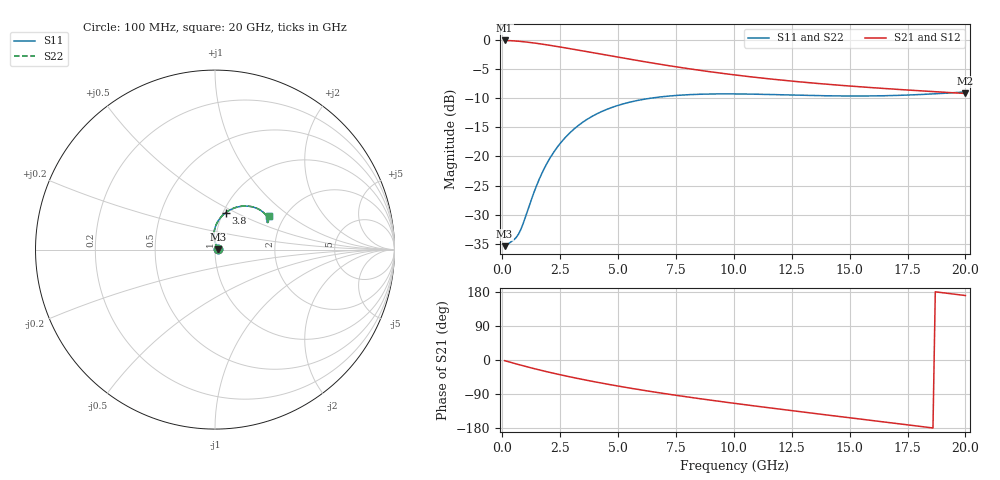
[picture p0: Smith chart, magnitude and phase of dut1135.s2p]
! Touchstone file exported from HFSS 2024.1.0
!  File:  C:/UserFiles/LocalFiles/RDL_TSV_Batchsim/temp_RDL_TSV_1135_1780112097.aedt
!  Generated:  11:49:09 AM May 30, 2026
!  Design:  RDL_TSV
!  Project:  temp_RDL_TSV_1135_1780112097
!  Setup:  Setup1
!  Solution:  Sweep
! Variables:
!  dtsv = 9.94um
!  hbump = 3um
!  htsv = 75.22um
!  ldown = 434.89um
!  lrdl = 320.34um
!  p = 40
!  p1 = 57.82um
!  rhole = 10um
!  subl = 2586.03um
!  t = 450um
!  tdown = 4.05um
!  trdl = 2.64um
!  viad = 10um
!  wdown = 25.1um
!  wrdl = 14.67um
!  xbump = 18um
# GHz S MA R 50.000000
! Terminal data exported
! Port[1] = TM1_1_T1
! Port[2] = TM1_4_T1
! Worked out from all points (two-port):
!   200 points, 100 MHz to 20 GHz, reference 50 ohm
!   highest |S21| = -0.15 dB at 100 MHz (marker M1); lowest = -9.2 dB at 20 GHz (marker M2)
!   |S21| within 3 dB of the highest: start of sweep to 5.201 GHz
!   lowest |S11| = -35.4 dB at 100 MHz (marker M3), VSWR 1.03, Z = 51.7 + j0.276 ohm
!   |S11| at or under -10 dB: start of sweep to 6.483 GHz
!   |S22| runs from -35.4 to -9.0 dB; largest |S21 - S12| = 1.3e-14
!   S11 on the Smith chart (normalised r, x): 100 MHz: 1.03, +0.01; 3.8 GHz: 1.03, +0.45; 20 GHz: 1.67, +0.72
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0.1  0.017 9.0  0.9827 -1.8  0.9827 -1.8  0.017 9.0
! Gamma 0 0 0 0
! Port Impedance 50 0 50 0
0.5  0.01929 40.8  0.9744 -8.6  0.9744 -8.6  0.01928 40.8
0.7  0.02157 57.9  0.9676 -12.0  0.9676 -12.0  0.02156 58.0
0.9  0.02649 73.8  0.9594 -15.3  0.9594 -15.3  0.0265 73.9
1.5  0.05734 93.8  0.9276 -24.7  0.9276 -24.7  0.05739 93.9
1.8  0.0778 94.4  0.9092 -29.1  0.9092 -29.1  0.07787 94.4
2.1  0.09954 92.7  0.89 -33.4  0.89 -33.4  0.09964 92.7
2.7  0.1435 86.5  0.8505 -41.6  0.8505 -41.6  0.1436 86.6
3.1  0.1714 81.8  0.8242 -46.7  0.8242 -46.7  0.1716 81.8
3.5  0.1974 77.0  0.7983 -51.7  0.7983 -51.7  0.1976 77.1
3.8  0.2154 73.5  0.7792 -55.3  0.7792 -55.3  0.2156 73.6
4.4  0.2471 67.0  0.7422 -62.2  0.7422 -62.2  0.2474 67.0
5.1  0.2769 60.0  0.7014 -69.9  0.7014 -69.9  0.2773 60.1
5.9  0.3025 53.1  0.6584 -78.1  0.6584 -78.1  0.3029 53.2
6.8  0.3222 46.6  0.6149 -86.7  0.6149 -86.7  0.3226 46.7
8.4  0.3395 37.8  0.55 -101.0  0.55 -101.0  0.3399 37.9
10.1  0.3423 31.7  0.4963 -115.0  0.4963 -115.0  0.3428 31.8
11.7  0.338 28.4  0.4571 -127.5  0.4571 -127.5  0.3384 28.5
13.4  0.3318 27.2  0.4245 -140.4  0.4245 -140.4  0.3322 27.2
15  0.3285 27.6  0.4001 -152.4  0.4001 -152.4  0.329 27.7
16.7  0.331 29.0  0.3786 -165.1  0.3786 -165.1  0.3315 29.1
20  0.356 32.0  0.3454 170.2  0.3454 170.2  0.3566 32.1
